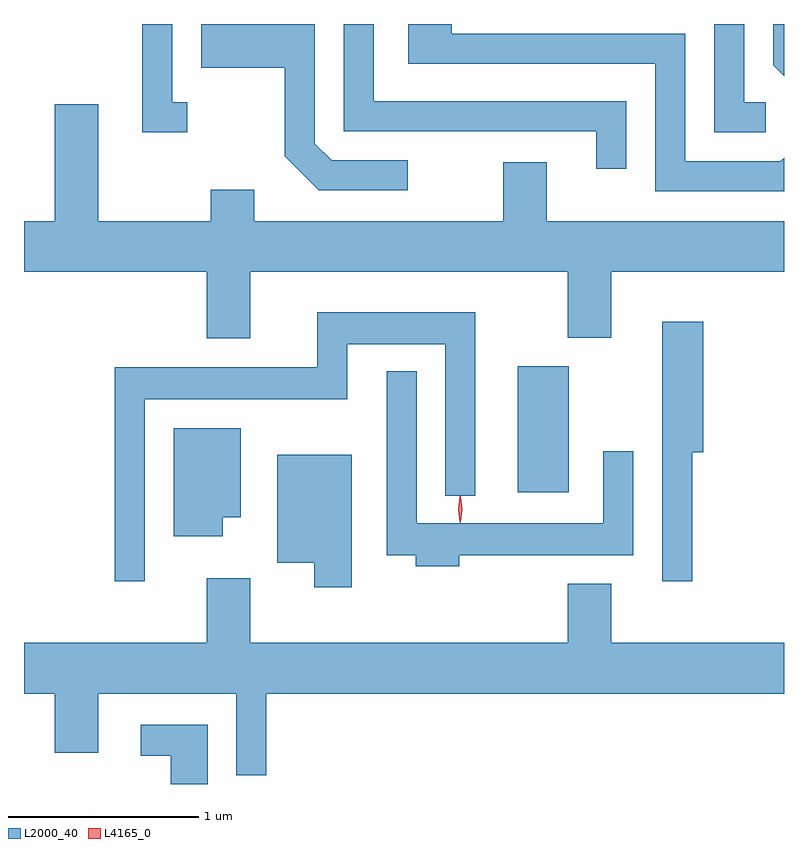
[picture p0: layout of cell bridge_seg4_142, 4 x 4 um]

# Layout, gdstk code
import gdstk
lib = gdstk.Library(unit=1e-6, precision=1e-09)
def R(c, l, rs):  # rectangles x0, y0, x1, y1
    for r in rs: c.add(gdstk.rectangle(r[:2], r[2:], *l))
def P(c, l, *ps):  # polygons
    for p in ps: c.add(gdstk.Polygon(p, *l))
L2000_40 = (2000, 40)
L4165_0 = (4165, 0)

bridge_seg4_142 = lib.new_cell('bridge_seg4_142')
R(bridge_seg4_142, L2000_40, [(870.156,1260.276,870.424,1260.939)])
P(bridge_seg4_142, L2000_40, [(871.463,1262.329),(871.349,1262.329),(871.349,1262.741),(871.191,1262.741),(871.191,1262.171),(871.463,1262.171)],
  [(871.558,1262.038),(871.539,1262.019),(871.039,1262.019),(871.039,1262.689),(869.809,1262.689),(869.809,1262.741),(869.581,1262.741),(869.581,1262.531),(870.881,1262.531),(870.881,1261.861),(871.558,1261.861)],
  [(871.558,1262.741),(871.501,1262.741),(871.501,1262.524),(871.558,1262.467)],
  [(868.418,1262.329),(868.339,1262.329),(868.339,1262.741),(868.181,1262.741),(868.181,1262.171),(868.418,1262.171)],
  [(869.578,1262.024),(869.177,1262.024),(869.089,1262.112),(869.089,1262.741),(868.931,1262.741),(868.931,1262.739),(868.491,1262.739),(868.491,1262.511),(868.931,1262.511),(868.931,1262.044),(869.109,1261.866),(869.578,1261.866)],
  [(870.729,1262.334),(869.399,1262.334),(869.399,1262.741),(869.241,1262.741),(869.241,1262.176),(870.571,1262.176),(870.571,1261.978),(870.729,1261.978)],
  [(868.749,1261.436),(870.421,1261.436),(870.421,1261.091),(870.649,1261.091),(870.649,1261.436),(871.558,1261.436),(871.558,1261.704),(870.309,1261.704),(870.309,1262.014),(870.081,1262.014),(870.081,1261.704),(868.769,1261.704),(868.769,1261.869),(868.541,1261.869),(868.541,1261.704),(867.949,1261.704),(867.949,1262.319),(867.721,1262.319),(867.721,1261.704),(867.558,1261.704),(867.558,1261.436),(868.521,1261.436),(868.521,1261.086),(868.749,1261.086)],
  [(868.194,1260.766),(869.259,1260.766),(869.259,1261.056),(869.776,1261.056),(869.776,1260.258),(869.934,1260.258),(869.934,1261.224),(869.101,1261.224),(869.101,1260.934),(868.036,1260.934),(868.036,1259.808),(868.194,1259.808)],
  [(871.074,1260.486),(871.134,1260.486),(871.134,1261.174),(870.916,1261.174),(870.916,1259.808),(871.074,1259.808)],
  [(869.849,1259.946),(870.764,1259.946),(870.764,1260.493),(870.606,1260.493),(870.606,1260.114),(869.624,1260.114),(869.624,1260.913),(869.466,1260.913),(869.466,1259.946),(869.621,1259.946),(869.621,1259.886),(869.849,1259.886)],
  [(868.604,1260.146),(868.699,1260.146),(868.699,1260.614),(868.346,1260.614),(868.346,1260.046),(868.604,1260.046)],
  [(869.284,1260.474),(868.891,1260.474),(868.891,1259.906),(869.086,1259.906),(869.086,1259.776),(869.284,1259.776)],
  [(868.834,1259.216),(871.558,1259.216),(871.558,1259.484),(870.649,1259.484),(870.649,1259.794),(870.421,1259.794),(870.421,1259.484),(868.749,1259.484),(868.749,1259.824),(868.521,1259.824),(868.521,1259.484),(867.558,1259.484),(867.558,1259.216),(867.721,1259.216),(867.721,1258.906),(867.949,1258.906),(867.949,1259.216),(868.676,1259.216),(868.676,1258.788),(868.834,1258.788)],
  [(868.524,1259.054),(868.173,1259.054),(868.173,1258.891),(868.331,1258.891),(868.331,1258.741),(868.524,1258.741)])
P(bridge_seg4_142, L4165_0, [(869.855,1260.119),(869.855,1260.12),(869.845,1260.186),(869.855,1260.252),(869.855,1260.253),(869.856,1260.252),(869.865,1260.186),(869.856,1260.12)],
  [(869.853,1260.117),(869.852,1260.118),(869.843,1260.187),(869.852,1260.256),(869.853,1260.256),(869.853,1260.256),(869.863,1260.187),(869.853,1260.118)])

lib.write_gds('bridge_seg4_142.gds')
